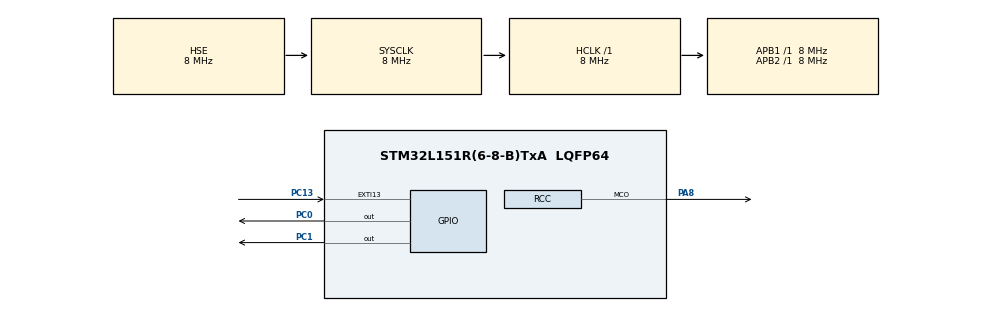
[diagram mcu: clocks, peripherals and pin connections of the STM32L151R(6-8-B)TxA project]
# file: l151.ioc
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Mcu.Family=STM32L1
Mcu.Name=STM32L151R(6-8-B)TxA
Mcu.Package=LQFP64
NVIC.EXTI15_10_IRQn=true\:0\:0\:false\:false\:true\:true\:true
NVIC.PriorityGroup=NVIC_PRIORITYGROUP_4
PA13.Mode=Serial_Wire
PA13.Signal=SYS_JTMS-SWDIO
PA14.Mode=Serial_Wire
PA14.Signal=SYS_JTCK-SWCLK
PA8.GPIO_Speed=GPIO_SPEED_FREQ_VERY_HIGH
PA8.Mode=Clock-out
PA8.Signal=RCC_MCO
PC0.Signal=GPIO_Output
PC1.Signal=GPIO_Output
PC13-WKUP2.Signal=GPXTI13
PH0-OSC_IN.Mode=HSE-External-Oscillator
PH0-OSC_IN.Signal=RCC_OSC_IN
PH1-OSC_OUT.Mode=HSE-External-Oscillator
PH1-OSC_OUT.Signal=RCC_OSC_OUT
ProjectManager.HeapSize=0x200
ProjectManager.StackSize=0x400
ProjectManager.TargetToolchain=STM32CubeIDE
RCC.48MHZClocksFreq_Value=24000000
RCC.AHBFreq_Value=8000000
RCC.APB1Freq_Value=8000000
RCC.APB1TimFreq_Value=8000000
RCC.APB2Freq_Value=8000000
RCC.APB2TimFreq_Value=8000000
RCC.HCLKFreq_Value=8000000
RCC.HSE_VALUE=8000000
RCC.HSI_VALUE=16000000
RCC.LSE_VALUE=32768
RCC.MSI_VALUE=2097000
RCC.RCC_MCOSource=RCC_MCO1SOURCE_HSE
RCC.SYSCLKFreq_VALUE=8000000
RCC.SYSCLKSource=RCC_SYSCLKSOURCE_HSE
RCC.VCOOutputFreq_Value=48000000
board=custom

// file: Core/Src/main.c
/* USER CODE BEGIN Header */
/**
  ******************************************************************************
  * @file           : main.c
  * @brief          : Main program body
  ******************************************************************************
  * @attention
  *
  * <h2><center>&copy; Copyright (c) 2020 STMicroelectronics.
  * All rights reserved.</center></h2>
  *
  * This software component is licensed by ST under BSD 3-Clause license,
  * the "License"; You may not use this file except in compliance with the
  * License. You may obtain a copy of the License at:
  *                        opensource.org/licenses/BSD-3-Clause
  *
  ******************************************************************************
  */
/* USER CODE END Header */

#include "main.h"

void SystemClock_Config(void);
static void MX_GPIO_Init(void);

/* USER CODE BEGIN 0 */
void get_sleep();
void blink();

int8_t FLAG_INTERRUPT_EVENT = 0;
/* USER CODE END 0 */

int main(void)
{

  /* MCU Configuration--------------------------------------------------------*/

  /* Reset of all peripherals, Initializes the Flash interface and the Systick. */
  HAL_Init();

  /* Configure the system clock */
  SystemClock_Config();

  /* Initialize all configured peripherals */
  MX_GPIO_Init();
  /* USER CODE BEGIN 2 */
  	  blink();
//  	  HAL_GPIO_WritePin(GPIOC, GPIO_PIN_1, GPIO_PIN_SET);
//  	  HAL_Delay (5000);
//  	  HAL_GPIO_WritePin(GPIOC, GPIO_PIN_1, GPIO_PIN_RESET);

  	  get_sleep();
//  HAL_SuspendTick();
//  HAL_PWR_EnterSLEEPMode(PWR_MAINREGULATOR_ON, PWR_SLEEPENTRY_WFI);
//  HAL_ResumeTick();
  /* USER CODE END 2 */

  /* Infinite loop */
  /* USER CODE BEGIN WHILE */
  while (1)
  {
	  if( HAL_GPIO_ReadPin(GPIOC, GPIO_PIN_0) == GPIO_PIN_SET ) {
	      // на выводе PB12 высокий уровень, кнопка отжата
		  HAL_GPIO_WritePin(GPIOC, GPIO_PIN_1, GPIO_PIN_SET);
	  }else{
		  HAL_GPIO_WritePin(GPIOC, GPIO_PIN_1, GPIO_PIN_RESET);
	  }

	  //if(FLAG_INTERRUPT_EVENT){
	  if(0){
		  FLAG_INTERRUPT_EVENT=0;
		  HAL_GPIO_WritePin(GPIOC, GPIO_PIN_1, GPIO_PIN_SET);
		  HAL_Delay (5000);
		  HAL_GPIO_WritePin(GPIOC, GPIO_PIN_1, GPIO_PIN_RESET);
		  HAL_Delay (1000);
		  blink();
	  }
//	  HAL_GPIO_WritePin(GPIOC, GPIO_PIN_1, GPIO_PIN_SET);
//	  HAL_GPIO_WritePin(GPIOC, GPIO_PIN_0, GPIO_PIN_SET);
//	  HAL_Delay (5000);
//	  HAL_GPIO_WritePin(GPIOC, GPIO_PIN_1, GPIO_PIN_RESET);
//	  HAL_GPIO_WritePin(GPIOC, GPIO_PIN_0, GPIO_PIN_RESET);
//	  HAL_Delay (5000);
    /* USER CODE END WHILE */

  }
}

void SystemClock_Config(void)
{
  RCC_OscInitTypeDef RCC_OscInitStruct = {0};
  RCC_ClkInitTypeDef RCC_ClkInitStruct = {0};

  /** Configure the main internal regulator output voltage
  */
  __HAL_PWR_VOLTAGESCALING_CONFIG(PWR_REGULATOR_VOLTAGE_SCALE1);
  /** Initializes the CPU, AHB and APB busses clocks
  */
  RCC_OscInitStruct.OscillatorType = RCC_OSCILLATORTYPE_HSE;
  RCC_OscInitStruct.HSEState = RCC_HSE_ON;
  RCC_OscInitStruct.PLL.PLLState = RCC_PLL_NONE;
  if (HAL_RCC_OscConfig(&RCC_OscInitStruct) != HAL_OK)
  {
    Error_Handler();
  }
  /** Initializes the CPU, AHB and APB busses clocks
  */
  RCC_ClkInitStruct.ClockType = RCC_CLOCKTYPE_HCLK|RCC_CLOCKTYPE_SYSCLK
                              |RCC_CLOCKTYPE_PCLK1|RCC_CLOCKTYPE_PCLK2;
  RCC_ClkInitStruct.SYSCLKSource = RCC_SYSCLKSOURCE_HSE;
  RCC_ClkInitStruct.AHBCLKDivider = RCC_SYSCLK_DIV1;
  RCC_ClkInitStruct.APB1CLKDivider = RCC_HCLK_DIV1;
  RCC_ClkInitStruct.APB2CLKDivider = RCC_HCLK_DIV1;

  if (HAL_RCC_ClockConfig(&RCC_ClkInitStruct, FLASH_LATENCY_0) != HAL_OK)
  {
    Error_Handler();
  }
  HAL_RCC_MCOConfig(RCC_MCO1, RCC_MCO1SOURCE_HSE, RCC_MCODIV_1);
}

static void MX_GPIO_Init(void)
{
  GPIO_InitTypeDef GPIO_InitStruct = {0};

  /* GPIO Ports Clock Enable */
  __HAL_RCC_GPIOC_CLK_ENABLE();
  __HAL_RCC_GPIOH_CLK_ENABLE();
  __HAL_RCC_GPIOA_CLK_ENABLE();

  /*Configure GPIO pin Output Level */
  HAL_GPIO_WritePin(GPIOC, GPIO_PIN_0|GPIO_PIN_1, GPIO_PIN_RESET);

  /*Configure GPIO pin : PC13 */
  GPIO_InitStruct.Pin = GPIO_PIN_13;
  GPIO_InitStruct.Mode = GPIO_MODE_IT_RISING;
  GPIO_InitStruct.Pull = GPIO_NOPULL;
  HAL_GPIO_Init(GPIOC, &GPIO_InitStruct);

  /*Configure GPIO pins : PC0 PC1 */
  GPIO_InitStruct.Pin = GPIO_PIN_0|GPIO_PIN_1;
  GPIO_InitStruct.Mode = GPIO_MODE_OUTPUT_PP;
  GPIO_InitStruct.Pull = GPIO_NOPULL;
  GPIO_InitStruct.Speed = GPIO_SPEED_FREQ_LOW;
  HAL_GPIO_Init(GPIOC, &GPIO_InitStruct);

  /*Configure GPIO pin : PA8 */
  GPIO_InitStruct.Pin = GPIO_PIN_8;
  GPIO_InitStruct.Mode = GPIO_MODE_AF_PP;
  GPIO_InitStruct.Pull = GPIO_NOPULL;
  GPIO_InitStruct.Speed = GPIO_SPEED_FREQ_VERY_HIGH;
  GPIO_InitStruct.Alternate = GPIO_AF0_MCO;
  HAL_GPIO_Init(GPIOA, &GPIO_InitStruct);

  /* EXTI interrupt init*/
  HAL_NVIC_SetPriority(EXTI15_10_IRQn, 0, 0);
  HAL_NVIC_EnableIRQ(EXTI15_10_IRQn);

}

/* USER CODE BEGIN 4 */
void HAL_GPIO_EXTI_Callback(uint16_t GPIO_Pin)
{
	if(GPIO_Pin== GPIO_PIN_13) {
		//HAL_GPIO_WritePin(GPIOC, GPIO_PIN_1, GPIO_PIN_SET);
		FLAG_INTERRUPT_EVENT=1;
	}else{
		__NOP();
		}
//	else if(GPIO_Pin== GPIO_PIN_2){
//		HAL_GPIO_WritePin(GPIOC, GPIO_PIN_13, GPIO_PIN_SET);
//	} else{
//	__NOP();
//	}
}

void get_sleep()
{
	  HAL_SuspendTick();
	  HAL_PWR_EnterSLEEPMode(PWR_MAINREGULATOR_ON, PWR_SLEEPENTRY_WFI);
	  HAL_ResumeTick();
}

void blink()
{
    for(int8_t i=0; i<6; ++i){
    	HAL_GPIO_WritePin(GPIOC, GPIO_PIN_1, GPIO_PIN_SET);
    	HAL_Delay (500);
    	HAL_GPIO_WritePin(GPIOC, GPIO_PIN_1, GPIO_PIN_RESET);
    	HAL_Delay (500);
    }
}

/* USER CODE END 4 */

void Error_Handler(void)
{
}

/************************ (C) COPYRIGHT STMicroelectronics *****END OF FILE****/
